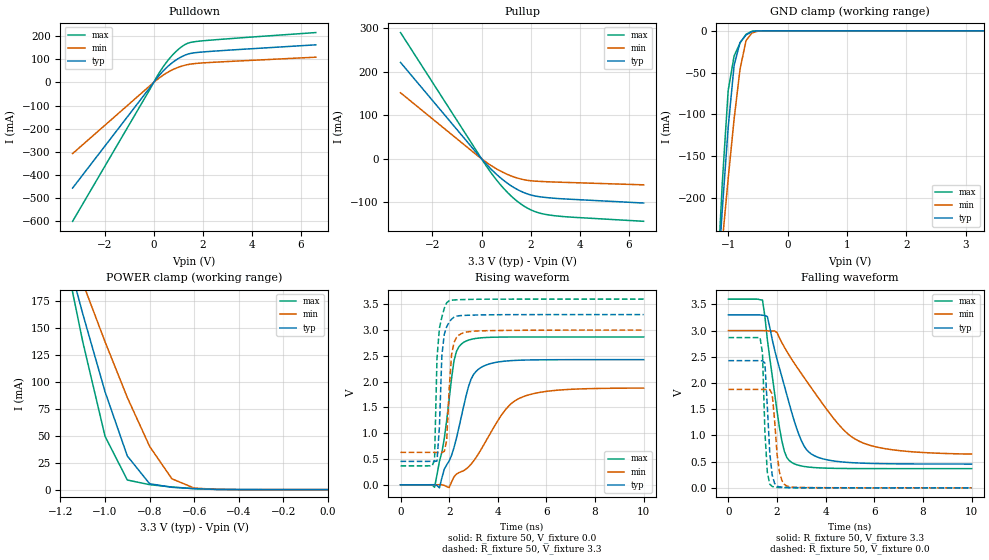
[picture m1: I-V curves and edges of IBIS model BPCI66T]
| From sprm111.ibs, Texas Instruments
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| Reserved Pins
|V6   Reserved
|AA3   Reserved
|AD3   Reserved
|AC4   Reserved
|E14   Reserved
|AF3   Reserved
|AB3   Reserved
|****** ****   ***** *****   ******  Buffer Models  ***************************
[Model]   BPCI66T
|  PCI I/O circuit
Model_type   I/O
Vinh = 2.00
Vinl = 0.80
Enable   Active-Low
Polarity   Non-Inverting
| signals   A, GZ, Y
Vmeas = 1.5
|   typ   min   max
C_comp   1.6056p   1.5280p   1.7919p
|   typ   min   max
[Temperature Range]   25   -40   125
|   typ   min   max
[Voltage Range]   3.30V   3.00V   3.60V
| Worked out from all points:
|   slope of the pulldown table from 0 to 0.495 V, typ, clamps not added: 8.09 ohm
|   slope of the pullup table from 0 to 0.495 V, typ, clamps not added: 16.7 ohm
|   GND clamp passes 1 mA (typ) near -0.60 V on its own axis
|   POWER clamp passes 1 mA (typ) near -0.61 V on its own axis
|   rising waveform, R_fixture 50, V_fixture 0.0: 20-80 % time 801ps typ, 1.54ns min, 499ps max; typ from 0 V to 2.43 V
|   falling waveform, R_fixture 50, V_fixture 3.3: 20-80 % time 1.04ns typ, 2.22ns min, 580ps max; typ from 3.3 V to 0.454 V
|   rising waveform, R_fixture 50, V_fixture 3.3: 20-80 % time 169ps typ, 176ps min, 158ps max; typ from 0.454 V to 3.3 V
|   falling waveform, R_fixture 50, V_fixture 0.0: 20-80 % time 190ps typ, 221ps min, 145ps max; typ from 2.43 V to 0 V
[Pulldown]
|   Voltage   I(typ)   I(min)   I(max)
-3.3V     -456.7mA   -307.6mA   -600.5mA
200mV     27.24mA    17.45mA    37.15mA
600mV     71.61mA    45.73mA    98.17mA
800mV     88.96mA    56.65mA    122.4mA
1.1V      109.4mA    69.26mA    151.5mA
1.4V      122.9mA    77.62mA    170.2mA
1.8V      130.1mA    83.05mA    178.2mA
6.6V      162.9mA    109.5mA    215.9mA
[GND_clamp]
|   Voltage   I(typ)   I(min)   I(max)
-3.3V     -2.845A    -2.152A    -3.683A
-1.2V     -324mA     -334.2mA   -324mA
-1.1V     -215.5mA   -254.2mA   -183.6mA
-1V       -115.9mA   -177.2mA   -71.55mA
-900mV    -41.27mA   -105.6mA   -30.15mA
-800mV    -13.94mA   -45.85mA   -14.45mA
-700mV    -4.994mA   -11.86mA   -4.208mA
-600mV    -963.1uA   -2.542mA   -476.5uA
-500mV    -87.74uA   -433.1uA   -22.26uA
-400mV    -4.9uA     -52.73uA   -497.2nA
3.3V      88.82pA    3.015uA    133.2pA
[Pullup]
|   Voltage   I(typ)   I(min)   I(max)
-3.3V     221.4mA    151.7mA    290mA
-200mV    13.27mA    8.886mA    17.7mA
300mV     -18.67mA   -12.2mA    -25.34mA
600mV     -35.26mA   -22.85mA   -48.04mA
900mV     -49.69mA   -31.89mA   -68.04mA
1.2V      -61.91mA   -39.28mA   -85.27mA
1.5V      -71.82mA   -44.94mA   -99.66mA
1.8V      -79.36mA   -48.82mA   -111.1mA
2.1V      -84.46mA   -50.93mA   -119.6mA
2.7V      -89.38mA   -52.78mA   -128.7mA
3.6V      -92.89mA   -54.52mA   -133.9mA
6.6V      -101.6mA   -59.83mA   -143.6mA
[POWER_clamp]
|   Voltage   I(typ)   I(min)   I(max)
-3.3V     1.995A     1.512A     2.581A
-1.2V     240mA      248.2mA    238mA
-1.1V     163.1mA    191.8mA    137.2mA
-1V       90.81mA    137.1mA    49.45mA
-900mV    31.15mA    85.45mA    8.887mA
-800mV    5.452mA    40.11mA    4.585mA
-700mV    2.137mA    10.02mA    2.412mA
-600mV    899.5uA    1.417mA    878.2uA
-500mV    220.1uA    238.5uA    140uA
0V        577.3pA    14.74nA    133.2pA
[Ramp]
|   I(typ)   I(min)   I(max)
dV/dt_r   1.456/0.795n   1.125/1.538n   1.720/0.490n
dV/dt_f   1.708/1.044n   1.414/2.221n   1.940/0.579n
[Rising Waveform]
R_fixture = 50
V_fixture = 0.0
|  pu_on
|  TIME   V(typ)   V(min)   V(max)
0s        1nV        9nV        1nV
1.4ns     1.925mV    252uV      -48.96mV
1.6ns     -59.82mV   1.139mV    453.5mV
1.8ns     303.6mV    -10.45mV   898.6mV
2.2ns     722.9mV    156mV      2.406V
2.6ns     1.531V     275mV      2.763V
2.9ns     2.046V     397.6mV    2.819V
3.2ns     2.238V     597mV      2.844V
4.9ns     2.415V     1.679V     2.866V
10ns      2.426V     1.875V     2.866V
[Falling Waveform]
R_fixture = 50
V_fixture = 3.3
V_fixture_min = 3.0
V_fixture_max = 3.6
|  pd_on
|  TIME   V(typ)   V(min)   V(max)
0s        3.3V       3V         3.6V
1.4ns     3.292V     3V         3.583V
1.6ns     3.266V     2.996V     2.829V
2.1ns     2.281V     2.86V      1.143V
2.3ns     1.945V     2.684V     696.9mV
2.6ns     1.443V     2.454V     484.9mV
3ns       900.5mV    2.179V     418.1mV
3.4ns     648.9mV    1.913V     392.3mV
5.3ns     475.2mV    908.4mV    368mV
10ns      454mV      645.3mV    366.5mV
[Rising Waveform]
R_fixture = 50
V_fixture = 3.3
V_fixture_min = 3.0
V_fixture_max = 3.6
|  pd_off
|  TIME   V(typ)   V(min)   V(max)
0s        453.7mV    628.5mV    366.5mV
1.4ns     453.6mV    628.5mV    479.5mV
1.5ns     460.1mV    627.9mV    2.455V
1.6ns     1.125V     626.8mV    3.04V
1.7ns     2.51V      625.5mV    3.252V
1.9ns     3.067V     864.9mV    3.53V
2ns       3.152V     1.851V     3.57V
2.2ns     3.249V     2.759V     3.583V
2.6ns     3.284V     2.949V     3.592V
10ns      3.3V       3V         3.6V
[Falling Waveform]
R_fixture = 50
V_fixture = 0.0
|  pu_off
|  TIME   V(typ)   V(min)   V(max)
0s        2.426V     1.877V     2.866V
1.3ns     2.425V     1.877V     2.866V
1.4ns     2.425V     1.877V     2.572V
1.5ns     2.38V      1.876V     1.066V
1.6ns     1.543V     1.877V     292.7mV
1.7ns     664.2mV    1.875V     69.51mV
1.8ns     241.9mV    1.789V     26.97mV
2.1ns     18.83mV    298.4mV    6.33mV
2.4ns     8.259mV    34.74mV    3.533mV
10ns      5.209uV    122.5uV    141nV
